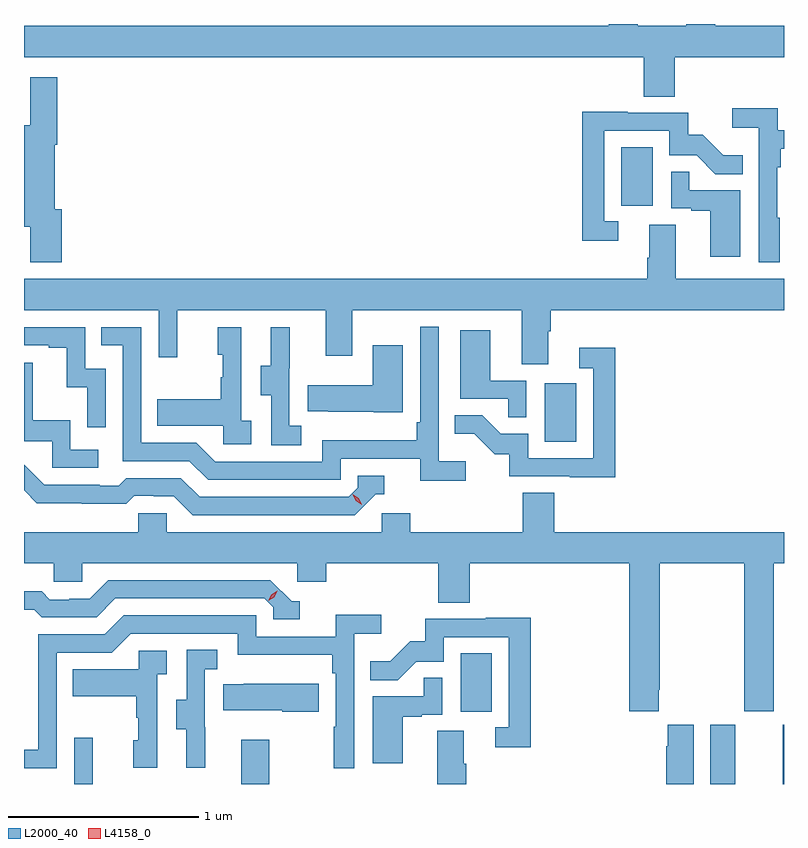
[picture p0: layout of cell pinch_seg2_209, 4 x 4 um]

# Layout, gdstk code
import gdstk
lib = gdstk.Library(unit=1e-6, precision=1e-09)
def R(c, l, rs):  # rectangles x0, y0, x1, y1
    for r in rs: c.add(gdstk.rectangle(r[:2], r[2:], *l))
def P(c, l, *ps):  # polygons
    for p in ps: c.add(gdstk.Polygon(p, *l))
L2000_40 = (2000, 40)
L4158_0 = (4158, 0)

pinch_seg2_209 = lib.new_cell('pinch_seg2_209')
R(pinch_seg2_209, L2000_40, [(952.317,646.474,952.415,646.717), (953.195,646.474,953.343,646.708), (955.664,646.474,955.795,646.786), (956.045,646.474,956.052,646.786), (954.35,646.854,954.514,647.161), (954.794,648.276,954.958,648.583), (955.196,649.518,955.36,649.825)])
P(pinch_seg2_209, L2000_40, [(955.478,650.3),(956.052,650.3),(956.052,650.464),(955.691,650.464),(955.691,650.474),(955.538,650.474),(955.538,650.464),(955.282,650.464),(955.282,650.474),(955.13,650.474),(955.13,650.464),(952.052,650.464),(952.052,650.3),(955.313,650.3),(955.313,650.092),(955.478,650.092)],
  [(952.25,649.5),(952.213,649.5),(952.213,649.838),(952.226,649.838),(952.226,650.194),(952.085,650.194),(952.085,649.942),(952.052,649.942),(952.052,649.407),(952.085,649.407),(952.085,649.221),(952.25,649.221)],
  [(956.029,649.454),(956.016,649.454),(956.016,649.721),(956.036,649.721),(956.036,649.817),(956.052,649.817),(956.052,649.914),(956.018,649.914),(956.018,650.03),(955.779,650.03),(955.779,649.928),(955.92,649.928),(955.92,649.221),(956.029,649.221)],
  [(955.18,649.437),(955.107,649.437),(955.107,649.911),(955.449,649.911),(955.449,649.782),(955.593,649.782),(955.691,649.684),(955.835,649.684),(955.835,649.783),(955.731,649.783),(955.624,649.89),(955.548,649.89),(955.548,650.007),(955.229,650.007),(955.229,650.012),(954.991,650.012),(954.991,649.332),(955.18,649.332)],
  [(955.822,649.599),(955.553,649.599),(955.553,649.697),(955.458,649.697),(955.458,649.503),(955.565,649.503),(955.565,649.491),(955.664,649.491),(955.664,649.248),(955.822,649.248)],
  [(954.811,648.856),(954.824,648.856),(954.824,648.968),(956.052,648.968),(956.052,649.132),(955.483,649.132),(955.483,649.418),(955.343,649.418),(955.343,649.244),(955.331,649.244),(955.331,649.132),(952.052,649.132),(952.052,648.968),(952.761,648.968),(952.761,648.72),(952.859,648.72),(952.859,648.968),(953.639,648.968),(953.639,648.729),(953.779,648.729),(953.779,648.968),(954.671,648.968),(954.671,648.682),(954.811,648.682)],
  [(954.376,648.172),(954.234,648.172),(954.234,648.88),(954.138,648.88),(954.138,648.379),(954.118,648.379),(954.118,648.283),(953.622,648.283),(953.622,648.171),(953.058,648.171),(952.959,648.27),(952.668,648.27),(952.668,648.879),(952.459,648.879),(952.459,648.783),(952.572,648.783),(952.572,648.174),(952.922,648.174),(953.021,648.075),(953.718,648.075),(953.718,648.186),(954.137,648.186),(954.137,648.07),(954.376,648.07)],
  [(952.482,648.66),(952.374,648.66),(952.374,648.879),(952.052,648.879),(952.052,648.783),(952.181,648.783),(952.181,648.771),(952.277,648.771),(952.277,648.563),(952.386,648.563),(952.386,648.351),(952.482,648.351)],
  [(953.248,648.386),(953.196,648.386),(953.196,648.877),(953.072,648.877),(953.072,648.732),(953.098,648.732),(953.098,648.614),(953.088,648.614),(953.088,648.499),(952.753,648.499),(952.753,648.359),(953.1,648.359),(953.1,648.261),(953.248,648.261)],
  [(953.512,648.359),(953.448,648.359),(953.448,648.663),(953.45,648.663),(953.45,648.877),(953.351,648.877),(953.351,648.675),(953.297,648.675),(953.297,648.52),(953.352,648.52),(953.352,648.256),(953.512,648.256)],
  [(954.696,648.597),(954.505,648.597),(954.505,648.862),(954.347,648.862),(954.347,648.501),(954.601,648.501),(954.601,648.403),(954.696,648.403)],
  [(954.046,648.784),(953.888,648.784),(953.888,648.574),(953.545,648.574),(953.545,648.437),(953.653,648.437),(953.653,648.434),(953.892,648.434),(953.892,648.431),(954.046,648.431)],
  [(955.163,648.769),(954.975,648.769),(954.975,648.663),(955.047,648.663),(955.047,648.189),(954.705,648.189),(954.705,648.318),(954.561,648.318),(954.463,648.416),(954.319,648.416),(954.319,648.317),(954.423,648.317),(954.53,648.21),(954.607,648.21),(954.607,648.093),(954.925,648.093),(954.925,648.088),(955.163,648.088)],
  [(952.444,648.234),(952.296,648.234),(952.296,648.388),(952.097,648.388),(952.097,648.691),(952.052,648.691),(952.052,648.279),(952.2,648.279),(952.2,648.138),(952.444,648.138)],
  [(953.904,648),(953.947,648),(953.947,648.096),(953.808,648.096),(953.808,648.033),(953.76,647.985),(952.977,647.985),(952.878,648.084),(952.589,648.084),(952.55,648.045),(952.451,648.045),(952.451,648.048),(952.158,648.048),(952.052,648.154),(952.052,648.019),(952.12,647.951),(952.356,647.951),(952.356,647.949),(952.589,647.949),(952.631,647.991),(952.734,647.991),(952.734,647.988),(952.841,647.988),(952.94,647.889),(953.793,647.889)],
  [(955.393,646.969),(955.398,646.969),(955.398,647.636),(955.843,647.636),(955.843,646.857),(955.998,646.857),(955.998,647.636),(956.052,647.636),(956.052,647.8),(954.842,647.8),(954.842,648.008),(954.677,648.008),(954.677,647.8),(954.086,647.8),(954.086,647.898),(953.934,647.898),(953.934,647.8),(952.803,647.8),(952.803,647.898),(952.653,647.898),(952.653,647.8),(952.052,647.8),(952.052,647.636),(952.209,647.636),(952.209,647.538),(952.359,647.538),(952.359,647.636),(953.49,647.636),(953.49,647.538),(953.642,647.538),(953.642,647.636),(954.233,647.636),(954.233,647.428),(954.398,647.428),(954.398,647.636),(955.238,647.636),(955.238,646.857),(955.393,646.857)],
  [(953.503,647.436),(953.46,647.436),(953.349,647.547),(952.496,647.547),(952.397,647.448),(952.29,647.448),(952.29,647.445),(952.187,647.445),(952.145,647.488),(952.052,647.488),(952.052,647.391),(952.106,647.391),(952.145,647.352),(952.434,647.352),(952.533,647.451),(953.316,647.451),(953.364,647.403),(953.364,647.34),(953.503,647.34)],
  [(952.224,647.166),(952.515,647.166),(952.614,647.265),(953.178,647.265),(953.178,647.153),(953.674,647.153),(953.674,647.057),(953.694,647.057),(953.694,646.775),(953.682,646.775),(953.682,646.557),(953.79,646.557),(953.79,647.264),(953.932,647.264),(953.932,647.366),(953.693,647.366),(953.693,647.25),(953.274,647.25),(953.274,647.361),(952.577,647.361),(952.478,647.262),(952.128,647.262),(952.128,646.653),(952.052,646.653),(952.052,646.557),(952.224,646.557)],
  [(954.719,647.348),(954.481,647.348),(954.481,647.343),(954.163,647.343),(954.163,647.226),(954.086,647.226),(953.979,647.119),(953.875,647.119),(953.875,647.02),(954.019,647.02),(954.117,647.118),(954.261,647.118),(954.261,647.247),(954.603,647.247),(954.603,646.773),(954.531,646.773),(954.531,646.668),(954.719,646.668)],
  [(953.006,646.773),(953.004,646.773),(953.004,647.077),(953.068,647.077),(953.068,647.18),(952.908,647.18),(952.908,646.917),(952.853,646.917),(952.853,646.762),(952.907,646.762),(952.907,646.56),(953.006,646.56)],
  [(952.752,647.051),(952.804,647.051),(952.804,647.175),(952.656,647.175),(952.656,647.077),(952.309,647.077),(952.309,646.937),(952.644,646.937),(952.644,646.823),(952.654,646.823),(952.654,646.704),(952.628,646.704),(952.628,646.56),(952.752,646.56)],
  [(954.046,646.827),(954.146,646.827),(954.146,646.839),(954.252,646.839),(954.252,647.033),(954.157,647.033),(954.157,646.935),(953.888,646.935),(953.888,646.584),(954.046,646.584)],
  [(953.602,647.002),(953.209,647.002),(953.209,646.999),(953.101,646.999),(953.101,646.862),(953.411,646.862),(953.411,646.855),(953.602,646.855)],
  [(955.576,646.786),(955.439,646.786),(955.439,646.673),(955.433,646.673),(955.433,646.474),(955.576,646.474)],
  [(954.38,646.58),(954.367,646.58),(954.367,646.754),(954.227,646.754),(954.227,646.474),(954.38,646.474)])
P(pinch_seg2_209, L4158_0, [(953.338,647.438),(953.338,647.439),(953.354,647.471),(953.385,647.491),(953.386,647.491),(953.386,647.491),(953.369,647.458),(953.338,647.438)],
  [(953.829,647.945),(953.798,647.965),(953.782,647.998),(953.782,647.998),(953.782,647.998),(953.813,647.978),(953.829,647.945),(953.829,647.945)])

lib.write_gds('pinch_seg2_209.gds')
